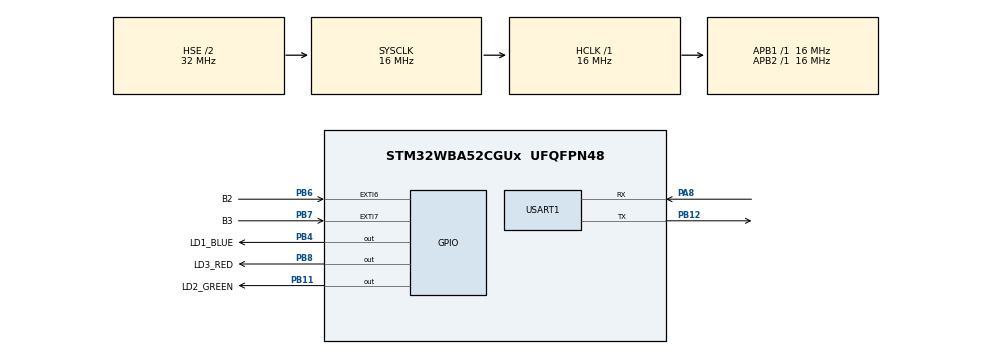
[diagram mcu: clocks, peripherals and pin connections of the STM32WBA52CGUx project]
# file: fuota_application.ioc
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ADC4.Channel-0\#ChannelRegularConversion=ADC_CHANNEL_TEMPSENSOR
ADC4.NbrOfConversionFlag=1
ADC4.Overrun=ADC_OVR_DATA_OVERWRITTEN
ADC4.Rank-0\#ChannelRegularConversion=1
ADC4.SamplingTime-0\#ChannelRegularConversion=ADC_SAMPLINGTIME_COMMON_1
ADC4.SamplingTimeCommon1=ADC_SAMPLETIME_814CYCLES_5
ADC4.SelectedChannel=ADC_CHANNEL_TEMPSENSOR
CORTEX_M33_NS.userName=CORTEX_M33
CRC.CRCLength=CRC_POLYLENGTH_16B
CRC.DefaultPolynomialUse=DEFAULT_POLYNOMIAL_DISABLE
CRC.GeneratingPolynomial=X12+X11+X10+X8+X7+X5+X4+X2+X1+X0
CRC.InputDataFormat=CRC_INPUTDATA_FORMAT_WORDS
GPDMA1.DESTINC_GPDMACH1=DMA_DINC_INCREMENTED
GPDMA1.DIRECTION_GPDMACH0=DMA_MEMORY_TO_PERIPH
GPDMA1.IPHANDLE_GPDMACH0-SIMPLEREQUEST_GPDMACH0=__NULL
GPDMA1.IPHANDLE_GPDMACH1-SIMPLEREQUEST_GPDMACH1=__NULL
GPDMA1.REQUEST_GPDMACH0=GPDMA1_REQUEST_USART1_TX
GPDMA1.REQUEST_GPDMACH1=GPDMA1_REQUEST_USART1_RX
GPDMA1.SRCINC_GPDMACH0=DMA_SINC_INCREMENTED
Mcu.Family=STM32WBA
Mcu.Name=STM32WBA52CGUx
Mcu.Package=UFQFPN48
Mcu.UserConstants=CFG_SLOTS_INFO_CHAR_MAX_LENGTH,240;CFG_UPDATE_DATA_CHAR_MAX_LENGTH,247;CFG_CONTROL_CHAR_MAX_LENGTH,64;UPDATE_DATA_CHUNK_LENGTH,240
NVIC.EXTI6_IRQn=true\:9\:0\:true\:false\:true\:true\:true\:true
NVIC.EXTI7_IRQn=true\:9\:0\:true\:false\:true\:true\:true\:true
NVIC.GPDMA1_Channel0_IRQn=true\:6\:0\:true\:false\:true\:false\:true\:true
NVIC.GPDMA1_Channel1_IRQn=true\:5\:0\:true\:false\:true\:false\:true\:true
NVIC.PriorityGroup=NVIC_PRIORITYGROUP_4
NVIC.RADIO_IRQn=true\:0\:0\:false\:false\:true\:false\:false\:true
NVIC.RCC_IRQn=true\:1\:0\:true\:false\:true\:true\:false\:true
NVIC.RNG_IRQn=true\:0\:0\:false\:false\:true\:true\:true\:true
NVIC.RTC_IRQn=true\:4\:0\:true\:false\:true\:true\:true\:true
NVIC.USART1_IRQn=true\:7\:0\:true\:false\:true\:true\:true\:true
OSC_IN.Mode=HSE-External-Oscillator
OSC_IN.Signal=RCC_OSC_IN
OSC_OUT.Mode=HSE-External-Oscillator
OSC_OUT.Signal=RCC_OSC_OUT
PA13\ (JTMS/SWDIO).Mode=Serial_Wire
PA13\ (JTMS/SWDIO).Signal=DEBUG_JTMS-SWDIO
PA14\ (JTCK/SWCLK).Mode=Serial_Wire
PA14\ (JTCK/SWCLK).Signal=DEBUG_JTCK-SWCLK
PA8.Mode=Asynchronous
PA8.Signal=USART1_RX
PB11.GPIO_Label=LD2_GREEN
PB11.GPIO_Speed=GPIO_SPEED_FREQ_HIGH
PB11.PinState=GPIO_PIN_SET
PB11.Signal=GPIO_Output
PB12.Mode=Asynchronous
PB12.Signal=USART1_TX
PB4\ (NJTRST).GPIO_Label=LD1_BLUE
PB4\ (NJTRST).GPIO_Speed=GPIO_SPEED_FREQ_HIGH
PB4\ (NJTRST).PinState=GPIO_PIN_SET
PB4\ (NJTRST).Signal=GPIO_Output
PB6.GPIO_Label=B2
PB6.Signal=GPXTI6
PB7.GPIO_Label=B3
PB7.Signal=GPXTI7
PB8.GPIO_Label=LD3_RED
PB8.GPIO_Speed=GPIO_SPEED_FREQ_HIGH
PB8.PinState=GPIO_PIN_SET
PB8.Signal=GPIO_Output
PC14-OSC32_IN.Mode=LSE-External-Oscillator
PC14-OSC32_IN.Signal=RCC_OSC32_IN
PC15-OSC32_OUT.Mode=LSE-External-Oscillator
PC15-OSC32_OUT.Signal=RCC_OSC32_OUT
ProjectManager.HeapSize=0x200
ProjectManager.StackSize=0x400
ProjectManager.TargetToolchain=STM32CubeIDE
RAMCFG.Instance-RAMCFG1_Activate=RAMCFG_SRAM1
RCC.ADCFreq_Value=16000000
RCC.AHBFreq_Value=16000000
RCC.APB1Freq_Value=16000000
RCC.APB1TimFreq_Value=16000000
RCC.APB2Freq_Value=16000000
RCC.APB2TimFreq_Value=16000000
RCC.CortexFreq_Value=2000000
RCC.HCLKFreq_Value=16000000
RCC.HSE_VALUE=32000000
RCC.HSI_VALUE=16000000
RCC.HseDiv=RCC_HSE_DIV2
RCC.PLLN=8
RCC.PWR_Regulator_Voltage_Scale=PWR_REGULATOR_VOLTAGE_SCALE1
RCC.RSTClockSelectionVirtual=RCC_RADIOSTCLKSOURCE_LSE
RCC.RTCClockSelection=RCC_RTCCLKSOURCE_LSE
RCC.SYSCLKFreq_VALUE=16000000
RCC.SYSCLKSourceVirtual=RCC_SYSCLKSOURCE_HSE
RCC.USART1CLockSelectionVirtual=RCC_USART1CLKSOURCE_HSI
RCC.VCOOutputFreq_Value=128000000
RNG.ClockErrorDetection=RNG_CED_DISABLE
RTC.Alarm-Alarm\ A=RTC_ALARM_A
RTC.AsynchPrediv=31
RTC.BinMode=RTC_BINARY_ONLY
RTC.BinaryAutoClr_A-Alarm\ A=RTC_ALARMSUBSECONDBIN_AUTOCLR_NO
STM32_WPAN.AD_TYPE_COMPLETE_LOCAL_NAME=Update Me
STM32_WPAN.AD_TYPE_COMPLETE_LOCAL_NAME_LENGTH=10
STM32_WPAN.AD_TYPE_MANUFACTURER_DATA_NBR=12
STM32_WPAN.BLE_STACK_TYPE=BLE_STACK_TYPE_BASIC
STM32_WPAN.BSP.number=1
STM32_WPAN.CFG_AMM_VIRTUAL_BUFFER_SIZE_1=400
STM32_WPAN.CFG_BLE_NUM_LINK=8
STM32_WPAN.CFG_BONDING_MODE=1
STM32_WPAN.CFG_GAP_DEVICE_NAME=Update Me
STM32_WPAN.CFG_GAP_DEVICE_NAME_LENGTH=9
STM32_WPAN.CFG_LOG_SUPPORTED=1
STM32_WPAN.CFG_LOG_VERBOSE_LEVEL=LOG_VERBOSE_INFO
STM32_WPAN.CFG_LPM_LEVEL=0
STM32_WPAN.CFG_MM_POOL_SIZE=4000
STM32_WPAN.INCLUDE_AD_TYPE_COMPLETE_LOCAL_NAME=1
STM32_WPAN.INCLUDE_AD_TYPE_MANUFACTURER_SPECIFIC_DATA=1
STM32_WPAN.NUMBER_OF_SERVICES=1
STM32_WPAN.PAIRING_PARAMETERS=ON
STM32_WPAN.RADIO_INTR_PRIO_LOW=5
STM32_WPAN.SERVICE1_CHAR1_ATTR_PERMISSION_AUTHEN_READ=ATTR_PERMISSION_AUTHEN_READ
STM32_WPAN.SERVICE1_CHAR1_ATTR_PERMISSION_AUTHEN_WRITE=ATTR_PERMISSION_AUTHEN_WRITE
STM32_WPAN.SERVICE1_CHAR1_GATT_NOTIFY_READ_REQ_AND_WAIT_FOR_APPL_RESP=\ 
STM32_WPAN.SERVICE1_CHAR1_GATT_NOTIFY_WRITE_REQ_AND_WAIT_FOR_APPL_RESP=\ 
STM32_WPAN.SERVICE1_CHAR1_LENGTH_CHARACTERISTIC=CHAR_VALUE_LEN_VARIABLE
STM32_WPAN.SERVICE1_CHAR1_LONG_NAME=Control
STM32_WPAN.SERVICE1_CHAR1_PROP_WRITE=\ 
STM32_WPAN.SERVICE1_CHAR1_PROP_WRITE_WITHOUT_RESP=CHAR_PROP_WRITE_WITHOUT_RESP
STM32_WPAN.SERVICE1_CHAR1_SHORT_NAME=Control
STM32_WPAN.SERVICE1_CHAR1_UUID=F1 10
STM32_WPAN.SERVICE1_CHAR1_VALUE_LENGTH=CFG_CONTROL_CHAR_MAX_LENGTH
STM32_WPAN.SERVICE1_CHAR2_ATTR_PERMISSION_AUTHEN_READ=ATTR_PERMISSION_AUTHEN_READ
STM32_WPAN.SERVICE1_CHAR2_ATTR_PERMISSION_AUTHEN_WRITE=ATTR_PERMISSION_AUTHEN_WRITE
STM32_WPAN.SERVICE1_CHAR2_GATT_NOTIFY_ATTRIBUTE_WRITE=\ 
STM32_WPAN.SERVICE1_CHAR2_GATT_NOTIFY_READ_REQ_AND_WAIT_FOR_APPL_RESP=\ 
STM32_WPAN.SERVICE1_CHAR2_GATT_NOTIFY_WRITE_REQ_AND_WAIT_FOR_APPL_RESP=\ 
STM32_WPAN.SERVICE1_CHAR2_LENGTH_CHARACTERISTIC=CHAR_VALUE_LEN_CONSTANT
STM32_WPAN.SERVICE1_CHAR2_LONG_NAME=Confirmation
STM32_WPAN.SERVICE1_CHAR2_PROP_NOTIFY=CHAR_PROP_NOTIFY
STM32_WPAN.SERVICE1_CHAR2_SHORT_NAME=Confirm
STM32_WPAN.SERVICE1_CHAR2_UUID=F1 20
STM32_WPAN.SERVICE1_CHAR2_VALUE_LENGTH=2
STM32_WPAN.SERVICE1_CHAR3_ATTR_PERMISSION_AUTHEN_READ=ATTR_PERMISSION_AUTHEN_READ
STM32_WPAN.SERVICE1_CHAR3_ATTR_PERMISSION_AUTHEN_WRITE=ATTR_PERMISSION_AUTHEN_WRITE
STM32_WPAN.SERVICE1_CHAR3_GATT_NOTIFY_READ_REQ_AND_WAIT_FOR_APPL_RESP=\ 
STM32_WPAN.SERVICE1_CHAR3_GATT_NOTIFY_WRITE_REQ_AND_WAIT_FOR_APPL_RESP=\ 
STM32_WPAN.SERVICE1_CHAR3_LENGTH_CHARACTERISTIC=CHAR_VALUE_LEN_VARIABLE
STM32_WPAN.SERVICE1_CHAR3_LONG_NAME=UpdateData
STM32_WPAN.SERVICE1_CHAR3_PROP_WRITE=\ 
STM32_WPAN.SERVICE1_CHAR3_PROP_WRITE_WITHOUT_RESP=CHAR_PROP_WRITE_WITHOUT_RESP
STM32_WPAN.SERVICE1_CHAR3_SHORT_NAME=UpData
STM32_WPAN.SERVICE1_CHAR3_UUID=F1 30
STM32_WPAN.SERVICE1_CHAR3_VALUE_LENGTH=CFG_UPDATE_DATA_CHAR_MAX_LENGTH
STM32_WPAN.SERVICE1_CHAR4_ATTR_PERMISSION_AUTHEN_READ=ATTR_PERMISSION_AUTHEN_READ
STM32_WPAN.SERVICE1_CHAR4_ATTR_PERMISSION_AUTHEN_WRITE=ATTR_PERMISSION_AUTHEN_WRITE
STM32_WPAN.SERVICE1_CHAR4_GATT_NOTIFY_ATTRIBUTE_WRITE=\ 
STM32_WPAN.SERVICE1_CHAR4_GATT_NOTIFY_READ_REQ_AND_WAIT_FOR_APPL_RESP=\ 
STM32_WPAN.SERVICE1_CHAR4_GATT_NOTIFY_WRITE_REQ_AND_WAIT_FOR_APPL_RESP=\ 
STM32_WPAN.SERVICE1_CHAR4_LONG_NAME=Acknowledgement
STM32_WPAN.SERVICE1_CHAR4_PROP_NOTIFY=CHAR_PROP_NOTIFY
STM32_WPAN.SERVICE1_CHAR4_PROP_READ=CHAR_PROP_READ
STM32_WPAN.SERVICE1_CHAR4_SHORT_NAME=Ack
STM32_WPAN.SERVICE1_CHAR4_UUID=F1 40
STM32_WPAN.SERVICE1_CHAR4_VALUE_LENGTH=5
STM32_WPAN.SERVICE1_CHAR5_ATTR_PERMISSION_AUTHEN_READ=ATTR_PERMISSION_AUTHEN_READ
STM32_WPAN.SERVICE1_CHAR5_ATTR_PERMISSION_AUTHEN_WRITE=ATTR_PERMISSION_AUTHEN_WRITE
STM32_WPAN.SERVICE1_CHAR5_GATT_NOTIFY_ATTRIBUTE_WRITE=GATT_NOTIFY_ATTRIBUTE_WRITE
STM32_WPAN.SERVICE1_CHAR5_GATT_NOTIFY_READ_REQ_AND_WAIT_FOR_APPL_RESP=\ 
STM32_WPAN.SERVICE1_CHAR5_GATT_NOTIFY_WRITE_REQ_AND_WAIT_FOR_APPL_RESP=\ 
STM32_WPAN.SERVICE1_CHAR5_LENGTH_CHARACTERISTIC=CHAR_VALUE_LEN_VARIABLE
STM32_WPAN.SERVICE1_CHAR5_LONG_NAME=FirmwareSlotsInfo
STM32_WPAN.SERVICE1_CHAR5_PROP_READ=CHAR_PROP_READ
STM32_WPAN.SERVICE1_CHAR5_SHORT_NAME=SlotsInfo
STM32_WPAN.SERVICE1_CHAR5_UUID=F1 90
STM32_WPAN.SERVICE1_CHAR5_VALUE_LENGTH=CFG_SLOTS_INFO_CHAR_MAX_LENGTH
STM32_WPAN.SERVICE1_CHAR6_ATTR_PERMISSION_AUTHEN_READ=ATTR_PERMISSION_AUTHEN_READ
STM32_WPAN.SERVICE1_CHAR6_ATTR_PERMISSION_AUTHEN_WRITE=ATTR_PERMISSION_AUTHEN_WRITE
STM32_WPAN.SERVICE1_CHAR6_GATT_NOTIFY_ATTRIBUTE_WRITE=GATT_NOTIFY_ATTRIBUTE_WRITE
STM32_WPAN.SERVICE1_CHAR6_GATT_NOTIFY_READ_REQ_AND_WAIT_FOR_APPL_RESP=\ 
STM32_WPAN.SERVICE1_CHAR6_GATT_NOTIFY_WRITE_REQ_AND_WAIT_FOR_APPL_RESP=\ 
STM32_WPAN.SERVICE1_CHAR6_LONG_NAME=ActiveSlotSetter
STM32_WPAN.SERVICE1_CHAR6_PROP_READ=CHAR_PROP_READ
STM32_WPAN.SERVICE1_CHAR6_PROP_WRITE=\ 
STM32_WPAN.SERVICE1_CHAR6_PROP_WRITE_WITHOUT_RESP=CHAR_PROP_WRITE_WITHOUT_RESP
STM32_WPAN.SERVICE1_CHAR6_SHORT_NAME=ActSlotSet
STM32_WPAN.SERVICE1_CHAR6_UUID=F1 91
STM32_WPAN.SERVICE1_LONG_NAME=FUOTA
STM32_WPAN.SERVICE1_NUMBER_OF_CHARACTERISTICS=6
STM32_WPAN.SERVICE1_SHORT_NAME=FUOTA
STM32_WPAN.SERVICE1_UUID=F1 00
STM32_WPAN.SERVICE1_UUID_TYPE=0x02
STM32_WPAN.SNVMA_POLY_CRC16=1DB7
STM32_WPAN0.BSP.STBoard=false
STM32_WPAN0.BSP.api=Unknown
STM32_WPAN0.BSP.condition=\!(S_BLE_TM)
STM32_WPAN0.BSP.instance=USART1
STM32_WPAN0.BSP.ip=(LPU|US)ART
STM32_WPAN0.BSP.mode=Asynchronous
STM32_WPAN0.BSP.name=Serial Link for Logs
STM32_WPAN0.BSP.solution=USART1
USART1.FIFOMode=FIFOMODE_ENABLE
USART1.OverSampling=UART_OVERSAMPLING_8
USART1.VirtualMode-Asynchronous=VM_ASYNC
VP_ADC4_TempSens_Input.Mode=IN-TempSens
VP_ADV_TRACE_VS_ADV_TRACE.Mode=ADV_TRACE_Enabled
VP_CRC_VS_CRC.Mode=CRC_Activate
VP_GPDMA1_VS_GPDMACH0.Mode=SIMPLEREQUEST_GPDMACH0
VP_GPDMA1_VS_GPDMACH1.Mode=SIMPLEREQUEST_GPDMACH1
VP_ICACHE_VS_ICACHE.Mode=DirectMappedCache
VP_MEMORYMAP_VS_MEMORYMAP.Mode=CurAppReg
VP_MISC_VS_MISC.Mode=MISC_Enabled
VP_PWR_VS_SECSignals.Mode=Security/Privilege
VP_RAMCFG_VS_RAMCFG1.Mode=RAMCFG1_Activate
VP_RF_VS_RF.Mode=RF_Activate
VP_RNG_VS_RNG.Mode=RNG_Activate
VP_RTC_VS_RTC_Activate.Mode=RTC_Enabled
VP_RTC_VS_RTC_Alarm_A_Intern.Mode=Alarm A
VP_RTC_VS_RTC_Calendar.Mode=RTC_Calendar
VP_SEQUENCER_VS_SEQUENCER.Mode=SEQUENCER_Enabled
VP_STM32_WPAN_VS_BLE_HOST_SP.Mode=BLE_Server
VP_TIMER_VS_TIMER.Mode=TIMER_Enabled
VP_TINY_LPM_VS_TINY_LPM.Mode=TINY_LPM_Enabled
board=NUCLEO-WBA52CG

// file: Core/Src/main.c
/* USER CODE BEGIN Header */
/**
  ******************************************************************************
  * @file           : main.c
  * @brief          : Main program body
  ******************************************************************************
  * @attention
  *
  * Copyright (c) 2024 STMicroelectronics.
  * All rights reserved.
  *
  * This software is licensed under terms that can be found in the LICENSE file
  * in the root directory of this software component.
  * If no LICENSE file comes with this software, it is provided AS-IS.
  *
  ******************************************************************************
  */
/* USER CODE END Header */
#include "main.h"

ADC_HandleTypeDef hadc4;

CRC_HandleTypeDef hcrc;

RAMCFG_HandleTypeDef hramcfg_SRAM1;

RNG_HandleTypeDef hrng;

RTC_HandleTypeDef hrtc;

UART_HandleTypeDef huart1;
DMA_HandleTypeDef handle_GPDMA1_Channel1;
DMA_HandleTypeDef handle_GPDMA1_Channel0;

/* USER CODE BEGIN PV */

__attribute__((section ("_fw_metadata"))) const FW_Metadata_t FW_Metadata =
{
  .version_code = 1,
  .version_string = "0.1.0",
  .slot_n = SLOT,
  .slot_id = SLOT == 0 ? 'A' : 'B'
};

/* USER CODE END PV */

void SystemClock_Config(void);
void PeriphCommonClock_Config(void);

int main(void)
{

  /* MCU Configuration--------------------------------------------------------*/

  /* Reset of all peripherals, Initializes the Flash interface and the Systick. */
  HAL_Init();
  /* Config code for STM32_WPAN (HSE Tuning must be done before system clock configuration) */
  MX_APPE_Config();

  /* Configure the system clock */
  SystemClock_Config();

/* Configure the peripherals common clocks */
  PeriphCommonClock_Config();

  /* Initialize all configured peripherals */
  MX_GPIO_Init();
  MX_GPDMA1_Init();
  MX_RAMCFG_Init();
  MX_RTC_Init();
  MX_ADC4_Init();
  MX_CRC_Init();
  MX_RNG_Init();
  MX_ICACHE_Init();
  /* USER CODE BEGIN 2 */

  if (BOOT_ADDRESS != SCB->VTOR)
  {
    HAL_GPIO_WritePin(LD3_RED_GPIO_Port, LD3_RED_Pin, GPIO_PIN_RESET);
    MX_USART1_UART_Init();
    char msg[200];
    sprintf(msg, "\n\nFATAL ERROR\nBuild boot address 0x%08X different than actual one 0x%08lX!!!\n\n", BOOT_ADDRESS, SCB->VTOR);
    HAL_UART_Transmit(&huart1, (uint8_t*)msg, strlen(msg), 1000);
    while (1);
  }

  /* USER CODE END 2 */

  /* Init code for STM32_WPAN */
  MX_APPE_Init(NULL);

  /* Infinite loop */
  /* USER CODE BEGIN WHILE */

#if SLOT == 0
  HAL_GPIO_WritePin(LD1_BLUE_GPIO_Port, LD1_BLUE_Pin, GPIO_PIN_RESET);
#elif SLOT == 1
  HAL_GPIO_WritePin(LD2_GREEN_GPIO_Port, LD2_GREEN_Pin, GPIO_PIN_RESET);
#endif

  while (1)
  {
    /* USER CODE END WHILE */
    MX_APPE_Process();

  }
}

void SystemClock_Config(void)
{
  RCC_OscInitTypeDef RCC_OscInitStruct = {0};
  RCC_ClkInitTypeDef RCC_ClkInitStruct = {0};

  /** Configure the main internal regulator output voltage
  */
  if (HAL_PWREx_ControlVoltageScaling(PWR_REGULATOR_VOLTAGE_SCALE1) != HAL_OK)
  {
    Error_Handler();
  }

  /** Configure LSE Drive Capability
  */
  HAL_PWR_EnableBkUpAccess();
  __HAL_RCC_LSEDRIVE_CONFIG(RCC_LSEDRIVE_MEDIUMLOW);

  /** Initializes the CPU, AHB and APB busses clocks
  */
  RCC_OscInitStruct.OscillatorType = RCC_OSCILLATORTYPE_HSI|RCC_OSCILLATORTYPE_HSE
                              |RCC_OSCILLATORTYPE_LSE;
  RCC_OscInitStruct.HSEState = RCC_HSE_ON;
  RCC_OscInitStruct.HSEDiv = RCC_HSE_DIV2;
  RCC_OscInitStruct.LSEState = RCC_LSE_ON;
  RCC_OscInitStruct.HSIState = RCC_HSI_ON;
  RCC_OscInitStruct.HSICalibrationValue = RCC_HSICALIBRATION_DEFAULT;
  RCC_OscInitStruct.PLL1.PLLState = RCC_PLL_NONE;
  if (HAL_RCC_OscConfig(&RCC_OscInitStruct) != HAL_OK)
  {
    Error_Handler();
  }

  /** Initializes the CPU, AHB and APB busses clocks
  */
  RCC_ClkInitStruct.ClockType = RCC_CLOCKTYPE_HCLK|RCC_CLOCKTYPE_SYSCLK
                              |RCC_CLOCKTYPE_PCLK1|RCC_CLOCKTYPE_PCLK2
                              |RCC_CLOCKTYPE_PCLK7|RCC_CLOCKTYPE_HCLK5;
  RCC_ClkInitStruct.SYSCLKSource = RCC_SYSCLKSOURCE_HSE;
  RCC_ClkInitStruct.AHBCLKDivider = RCC_SYSCLK_DIV1;
  RCC_ClkInitStruct.APB1CLKDivider = RCC_HCLK_DIV1;
  RCC_ClkInitStruct.APB2CLKDivider = RCC_HCLK_DIV1;
  RCC_ClkInitStruct.APB7CLKDivider = RCC_HCLK_DIV1;
  RCC_ClkInitStruct.AHB5_PLL1_CLKDivider = RCC_SYSCLK_PLL1_DIV1;
  RCC_ClkInitStruct.AHB5_HSEHSI_CLKDivider = RCC_SYSCLK_HSEHSI_DIV1;

  if (HAL_RCC_ClockConfig(&RCC_ClkInitStruct, FLASH_LATENCY_0) != HAL_OK)
  {
    Error_Handler();
  }
}

void PeriphCommonClock_Config(void)
{
  RCC_PeriphCLKInitTypeDef PeriphClkInit = {0};

  /** Initializes the peripherals clock
  */
  PeriphClkInit.PeriphClockSelection = RCC_PERIPHCLK_RADIOST;
  PeriphClkInit.RadioSlpTimClockSelection = RCC_RADIOSTCLKSOURCE_LSE;

  if (HAL_RCCEx_PeriphCLKConfig(&PeriphClkInit) != HAL_OK)
  {
    Error_Handler();
  }
}

void MX_ADC4_Init(void)
{

  ADC_ChannelConfTypeDef sConfig = {0};

  /* USER CODE BEGIN ADC4_Init 1 */
  memset(&hadc4, 0, sizeof(hadc4));

  /* USER CODE END ADC4_Init 1 */

  /** Common config
  */
  hadc4.Instance = ADC4;
  hadc4.Init.ClockPrescaler = ADC_CLOCK_ASYNC_DIV1;
  hadc4.Init.Resolution = ADC_RESOLUTION_12B;
  hadc4.Init.DataAlign = ADC_DATAALIGN_RIGHT;
  hadc4.Init.ScanConvMode = ADC_SCAN_DISABLE;
  hadc4.Init.EOCSelection = ADC_EOC_SINGLE_CONV;
  hadc4.Init.LowPowerAutoPowerOff = DISABLE;
  hadc4.Init.LowPowerAutonomousDPD = ADC_LP_AUTONOMOUS_DPD_DISABLE;
  hadc4.Init.LowPowerAutoWait = DISABLE;
  hadc4.Init.ContinuousConvMode = DISABLE;
  hadc4.Init.NbrOfConversion = 1;
  hadc4.Init.ExternalTrigConv = ADC_SOFTWARE_START;
  hadc4.Init.ExternalTrigConvEdge = ADC_EXTERNALTRIGCONVEDGE_NONE;
  hadc4.Init.DMAContinuousRequests = DISABLE;
  hadc4.Init.TriggerFrequencyMode = ADC_TRIGGER_FREQ_LOW;
  hadc4.Init.Overrun = ADC_OVR_DATA_OVERWRITTEN;
  hadc4.Init.SamplingTimeCommon1 = ADC_SAMPLETIME_814CYCLES_5;
  hadc4.Init.SamplingTimeCommon2 = ADC_SAMPLETIME_1CYCLE_5;
  hadc4.Init.OversamplingMode = DISABLE;
  if (HAL_ADC_Init(&hadc4) != HAL_OK)
  {
    Error_Handler();
  }

  /** Configure Regular Channel
  */
  sConfig.Channel = ADC_CHANNEL_TEMPSENSOR;
  sConfig.Rank = ADC_REGULAR_RANK_1;
  sConfig.SamplingTime = ADC_SAMPLINGTIME_COMMON_1;
  if (HAL_ADC_ConfigChannel(&hadc4, &sConfig) != HAL_OK)
  {
    Error_Handler();
  }

}

void MX_CRC_Init(void)
{

  hcrc.Instance = CRC;
  hcrc.Init.DefaultPolynomialUse = DEFAULT_POLYNOMIAL_DISABLE;
  hcrc.Init.DefaultInitValueUse = DEFAULT_INIT_VALUE_ENABLE;
  hcrc.Init.GeneratingPolynomial = 7607;
  hcrc.Init.CRCLength = CRC_POLYLENGTH_16B;
  hcrc.Init.InputDataInversionMode = CRC_INPUTDATA_INVERSION_NONE;
  hcrc.Init.OutputDataInversionMode = CRC_OUTPUTDATA_INVERSION_DISABLE;
  hcrc.InputDataFormat = CRC_INPUTDATA_FORMAT_WORDS;
  if (HAL_CRC_Init(&hcrc) != HAL_OK)
  {
    Error_Handler();
  }

}

void MX_GPDMA1_Init(void)
{

  /* Peripheral clock enable */
  __HAL_RCC_GPDMA1_CLK_ENABLE();

  /* GPDMA1 interrupt Init */
    HAL_NVIC_SetPriority(GPDMA1_Channel0_IRQn, 6, 0);
    HAL_NVIC_EnableIRQ(GPDMA1_Channel0_IRQn);
    HAL_NVIC_SetPriority(GPDMA1_Channel1_IRQn, 5, 0);
    HAL_NVIC_EnableIRQ(GPDMA1_Channel1_IRQn);

}

void MX_ICACHE_Init(void)
{

  /* USER CODE BEGIN ICACHE_Init 1 */
  /* No retention for ICACHE in stop mode */
  LL_PWR_SetICacheRAMStopRetention(LL_PWR_ICACHERAM_STOP_NO_RETENTION);

  /* USER CODE END ICACHE_Init 1 */

  /** Enable instruction cache in 1-way (direct mapped cache)
  */
  if (HAL_ICACHE_ConfigAssociativityMode(ICACHE_1WAY) != HAL_OK)
  {
    Error_Handler();
  }
  if (HAL_ICACHE_Enable() != HAL_OK)
  {
    Error_Handler();
  }

}

void MX_RAMCFG_Init(void)
{

  /** Initialize RAMCFG SRAM1
  */
  hramcfg_SRAM1.Instance = RAMCFG_SRAM1;
  if (HAL_RAMCFG_Init(&hramcfg_SRAM1) != HAL_OK)
  {
    Error_Handler();
  }

}

void MX_RNG_Init(void)
{

  /* USER CODE BEGIN RNG_Init 0 */
  memset(&hrng, 0, sizeof(hrng));

  /* USER CODE END RNG_Init 0 */

  hrng.Instance = RNG;
  hrng.Init.ClockErrorDetection = RNG_CED_DISABLE;
  if (HAL_RNG_Init(&hrng) != HAL_OK)
  {
    Error_Handler();
  }
  /* USER CODE BEGIN RNG_Init 2 */
  /* Disable RNG peripheral and its RCC clock */
  HW_RNG_Disable();

  /* USER CODE END RNG_Init 2 */

}

void MX_RTC_Init(void)
{

  RTC_PrivilegeStateTypeDef privilegeState = {0};
  RTC_AlarmTypeDef sAlarm = {0};

  /** Initialize RTC Only
  */
  hrtc.Instance = RTC;
  hrtc.Init.AsynchPrediv = 31;
  hrtc.Init.OutPut = RTC_OUTPUT_DISABLE;
  hrtc.Init.OutPutRemap = RTC_OUTPUT_REMAP_NONE;
  hrtc.Init.OutPutPolarity = RTC_OUTPUT_POLARITY_HIGH;
  hrtc.Init.OutPutType = RTC_OUTPUT_TYPE_OPENDRAIN;
  hrtc.Init.OutPutPullUp = RTC_OUTPUT_PULLUP_NONE;
  hrtc.Init.BinMode = RTC_BINARY_ONLY;
  if (HAL_RTC_Init(&hrtc) != HAL_OK)
  {
    Error_Handler();
  }
  privilegeState.rtcPrivilegeFull = RTC_PRIVILEGE_FULL_NO;
  privilegeState.backupRegisterPrivZone = RTC_PRIVILEGE_BKUP_ZONE_NONE;
  privilegeState.backupRegisterStartZone2 = RTC_BKP_DR0;
  privilegeState.backupRegisterStartZone3 = RTC_BKP_DR0;
  if (HAL_RTCEx_PrivilegeModeSet(&hrtc, &privilegeState) != HAL_OK)
  {
    Error_Handler();
  }

  /** Initialize RTC and set the Time and Date
  */
  if (HAL_RTCEx_SetSSRU_IT(&hrtc) != HAL_OK)
  {
    Error_Handler();
  }

  /** Enable the Alarm A
  */
  sAlarm.BinaryAutoClr = RTC_ALARMSUBSECONDBIN_AUTOCLR_NO;
  sAlarm.AlarmTime.SubSeconds = 0x0;
  sAlarm.AlarmMask = RTC_ALARMMASK_NONE;
  sAlarm.AlarmSubSecondMask = RTC_ALARMSUBSECONDBINMASK_NONE;
  sAlarm.Alarm = RTC_ALARM_A;
  if (HAL_RTC_SetAlarm_IT(&hrtc, &sAlarm, RTC_FORMAT_BCD) != HAL_OK)
  {
    Error_Handler();
  }

}

void MX_USART1_UART_Init(void)
{

  huart1.Instance = USART1;
  huart1.Init.BaudRate = 115200;
  huart1.Init.WordLength = UART_WORDLENGTH_8B;
  huart1.Init.StopBits = UART_STOPBITS_1;
  huart1.Init.Parity = UART_PARITY_NONE;
  huart1.Init.Mode = UART_MODE_TX_RX;
  huart1.Init.HwFlowCtl = UART_HWCONTROL_NONE;
  huart1.Init.OverSampling = UART_OVERSAMPLING_8;
  huart1.Init.OneBitSampling = UART_ONE_BIT_SAMPLE_DISABLE;
  huart1.Init.ClockPrescaler = UART_PRESCALER_DIV1;
  huart1.AdvancedInit.AdvFeatureInit = UART_ADVFEATURE_NO_INIT;
  if (HAL_UART_Init(&huart1) != HAL_OK)
  {
    Error_Handler();
  }
  if (HAL_UARTEx_SetTxFifoThreshold(&huart1, UART_TXFIFO_THRESHOLD_1_8) != HAL_OK)
  {
    Error_Handler();
  }
  if (HAL_UARTEx_SetRxFifoThreshold(&huart1, UART_RXFIFO_THRESHOLD_1_8) != HAL_OK)
  {
    Error_Handler();
  }
  if (HAL_UARTEx_EnableFifoMode(&huart1) != HAL_OK)
  {
    Error_Handler();
  }

}

void MX_GPIO_Init(void)
{
  GPIO_InitTypeDef GPIO_InitStruct = {0};

  /* GPIO Ports Clock Enable */
  __HAL_RCC_GPIOB_CLK_ENABLE();
  __HAL_RCC_GPIOA_CLK_ENABLE();
  __HAL_RCC_GPIOC_CLK_ENABLE();

  /*Configure GPIO pin Output Level */
  HAL_GPIO_WritePin(GPIOB, LD2_GREEN_Pin|LD3_RED_Pin|LD1_BLUE_Pin, GPIO_PIN_SET);

  /*Configure GPIO pins : LD2_GREEN_Pin LD3_RED_Pin LD1_BLUE_Pin */
  GPIO_InitStruct.Pin = LD2_GREEN_Pin|LD3_RED_Pin|LD1_BLUE_Pin;
  GPIO_InitStruct.Mode = GPIO_MODE_OUTPUT_PP;
  GPIO_InitStruct.Pull = GPIO_NOPULL;
  GPIO_InitStruct.Speed = GPIO_SPEED_FREQ_HIGH;
  HAL_GPIO_Init(GPIOB, &GPIO_InitStruct);

  /*Configure GPIO pins : B3_Pin B2_Pin */
  GPIO_InitStruct.Pin = B3_Pin|B2_Pin;
  GPIO_InitStruct.Mode = GPIO_MODE_IT_RISING;
  GPIO_InitStruct.Pull = GPIO_NOPULL;
  HAL_GPIO_Init(GPIOB, &GPIO_InitStruct);

  /*RT DEBUG GPIO_Init */
  RT_DEBUG_GPIO_Init();

  /* EXTI interrupt init*/
  HAL_NVIC_SetPriority(EXTI6_IRQn, 9, 0);
  HAL_NVIC_EnableIRQ(EXTI6_IRQn);

  HAL_NVIC_SetPriority(EXTI7_IRQn, 9, 0);
  HAL_NVIC_EnableIRQ(EXTI7_IRQn);

}

void Error_Handler(void)
{
  __disable_irq();
  while (1)
  {
  }
}

#ifdef  USE_FULL_ASSERT
/**
  * @brief  Reports the name of the source file and the source line number
  *         where the assert_param error has occurred.
  * @param  file: pointer to the source file name
  * @param  line: assert_param error line source number
  * @retval None
  */
void assert_failed(uint8_t *file, uint32_t line)
{
  /* USER CODE BEGIN 6 */
  /* User can add his own implementation to report the file name and line number,
     ex: printf("Wrong parameters value: file %s on line %d\r\n", file, line) */
  Error_Handler();
  /* USER CODE END 6 */
}
#endif /* USE_FULL_ASSERT */
